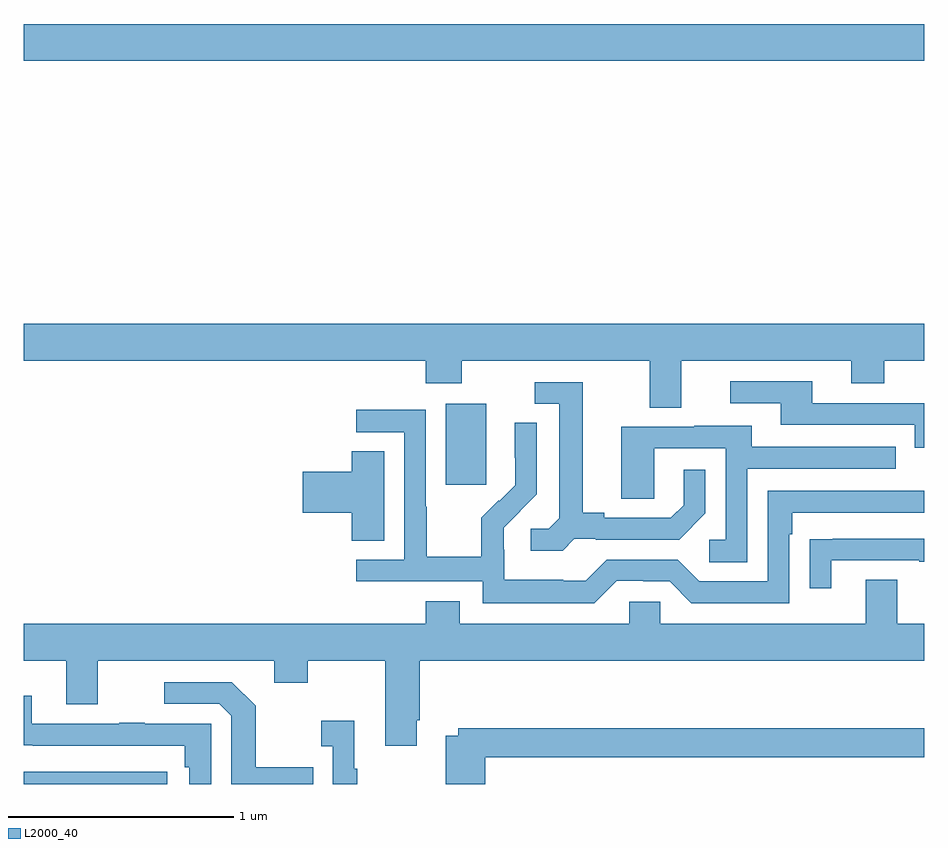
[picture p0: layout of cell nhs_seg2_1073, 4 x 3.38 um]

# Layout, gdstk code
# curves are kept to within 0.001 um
import gdstk
lib = gdstk.Library(unit=1e-6, precision=1e-09)
def R(c, l, rs):  # rectangles x0, y0, x1, y1
    for r in rs: c.add(gdstk.rectangle(r[:2], r[2:], *l))
def P(c, l, *ps):  # polygons
    for p in ps: c.add(gdstk.Polygon(p, *l))
L2000_40 = (2000, 40)

nhs_seg2_1073 = lib.new_cell('nhs_seg2_1073')
R(nhs_seg2_1073, L2000_40, [(167,601.8,167.638,601.854), (168.875,603.129,169.054,603.49), (167,605.012,171,605.176)])
P(nhs_seg2_1073, L2000_40, [(169.921,603.68),(170.675,603.68),(170.675,603.581),(170.823,603.581),(170.823,603.68),(171,603.68),(171,603.844),(167,603.844),(167,603.68),(168.785,603.68),(168.785,603.581),(168.945,603.581),(168.945,603.68),(169.781,603.68),(169.781,603.472),(169.921,603.472)],
  [(171,603.492),(170.503,603.492),(170.503,603.588),(170.139,603.588),(170.139,603.492),(170.363,603.492),(170.363,603.396),(170.958,603.396),(170.958,603.293),(171,603.293)],
  [(169.446,602.889),(169.54,602.889),(169.54,602.886),(169.912,602.886),(170.028,603.002),(170.028,603.196),(169.931,603.196),(169.931,603.039),(169.874,602.982),(169.579,602.982),(169.579,603.005),(169.483,603.005),(169.483,603.585),(169.269,603.585),(169.269,603.489),(169.379,603.489),(169.379,602.981),(169.332,602.934),(169.251,602.934),(169.251,602.837),(169.394,602.837)],
  [(169.635,602.703),(169.751,602.703),(169.751,602.7),(169.869,602.7),(169.965,602.604),(170.4,602.604),(170.4,602.909),(170.413,602.909),(170.413,603.006),(171,603.006),(171,603.102),(170.304,603.102),(170.304,602.7),(170.001,602.7),(169.905,602.796),(169.59,602.796),(169.497,602.703),(169.397,602.703),(169.397,602.707),(169.134,602.707),(169.134,602.841),(169.132,602.841),(169.132,602.938),(169.278,603.086),(169.278,603.404),(169.182,603.404),(169.182,603.25),(169.184,603.25),(169.184,603.128),(169.113,603.057),(169.11,603.06),(169.033,602.983),(169.033,602.809),(168.789,602.809),(168.789,603.032),(168.786,603.032),(168.786,603.462),(168.477,603.462),(168.477,603.363),(168.69,603.363),(168.69,602.796),(168.477,602.796),(168.477,602.7),(169.038,602.7),(169.038,602.603),(169.535,602.603)],
  [(170.214,603.201),(170.873,603.201),(170.873,603.297),(170.233,603.297),(170.233,603.391),(169.979,603.391),(169.979,603.387),(169.655,603.387),(169.655,603.067),(169.8,603.067),(169.8,603.291),(170.118,603.291),(170.118,602.886),(170.046,602.886),(170.046,602.785),(170.214,602.785)],
  [(168.601,603.278),(168.458,603.278),(168.458,603.188),(168.24,603.188),(168.24,603.005),(168.458,603.005),(168.458,602.881),(168.601,602.881)],
  [(170.587,602.793),(170.977,602.793),(170.977,602.788),(171,602.788),(171,602.889),(170.593,602.889),(170.593,602.888),(170.491,602.888),(170.491,602.67),(170.587,602.67)],
  [(168.745,602.083),(168.758,602.083),(168.758,602.348),(171,602.348),(171,602.512),(170.881,602.512),(170.881,602.707),(170.741,602.707),(170.741,602.512),(169.827,602.512),(169.827,602.61),(169.689,602.61),(169.689,602.512),(168.937,602.512),(168.937,602.611),(168.785,602.611),(168.785,602.512),(167,602.512),(167,602.348),(167.189,602.348),(167.189,602.154),(167.329,602.154),(167.329,602.348),(168.113,602.348),(168.113,602.249),(168.261,602.249),(168.261,602.348),(168.605,602.348),(168.605,601.971),(168.745,601.971)],
  [(168.287,601.875),(168.031,601.875),(168.031,602.147),(167.925,602.253),(167.625,602.253),(167.625,602.157),(167.868,602.157),(167.922,602.103),(167.922,601.8),(168.287,601.8)],
  [(167.832,602.067),(167.537,602.067),(167.537,602.072),(167.425,602.072),(167.425,602.067),(167.035,602.067),(167.035,602.191),(167,602.191),(167,601.972),(167.041,601.972),(167.041,601.971),(167.716,601.971),(167.716,601.874),(167.736,601.874),(167.736,601.8),(167.832,601.8)],
  [(168.481,601.867),(168.469,601.867),(168.469,602.08),(168.321,602.08),(168.321,601.967),(168.372,601.967),(168.372,601.8),(168.481,601.8)],
  [(169.049,601.918),(171,601.918),(171,602.047),(168.93,602.047),(168.93,602.014),(168.874,602.014),(168.874,601.8),(169.049,601.8)])

lib.write_gds('nhs_seg2_1073.gds')
